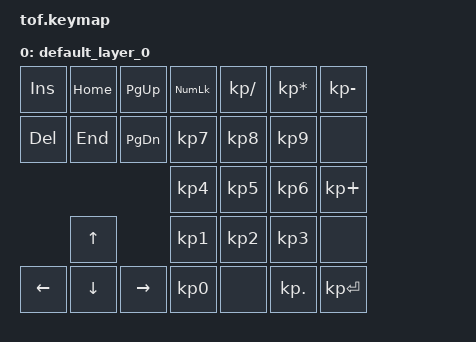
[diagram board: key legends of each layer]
/*
 * Copyright (c) 2020 The ZMK Contributors
 *
 * SPDX-License-Identifier: MIT
 */

#include <behaviors.dtsi>
#include <dt-bindings/zmk/keys.h>
#include <dt-bindings/zmk/bt.h>
#include <dt-bindings/zmk/outputs.h>

&mt {
    tapping-term-ms = <200>; 
};
&lt {
    quick-tap-ms = <400>;
};

/ {
    keymap {
        compatible = "zmk,keymap";

        default_layer_0 {
            bindings = <
    &kp INS         &kp HOME        &kp PG_UP               &kp KP_NUMLOCK  &kp KP_SLASH    &kp KP_MULTIPLY &kp KP_MINUS
    &kp DEL         &kp END         &kp PG_DN               &kp KP_NUMBER_7 &kp KP_NUMBER_8 &kp KP_NUMBER_9 &none
                                                            &kp KP_NUMBER_4 &kp KP_NUMBER_5 &kp KP_NUMBER_6 &kp KP_PLUS
                    &kp UP                                  &kp KP_NUMBER_1 &kp KP_NUMBER_2 &kp KP_NUMBER_3 &none
    &kp LEFT        &kp DOWN        &kp RIGHT               &kp KP_NUMBER_0 &none           &kp KP_DOT      &kp KP_ENTER
            >;
        };
    };
};
